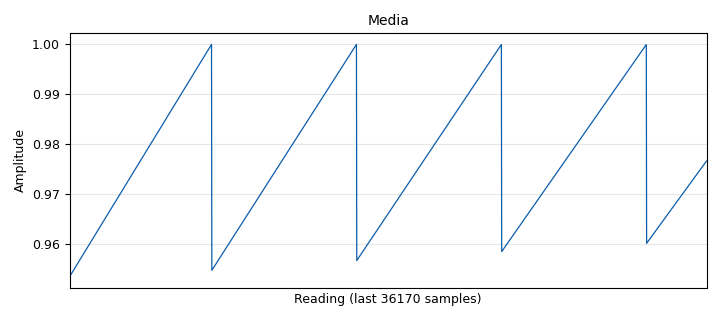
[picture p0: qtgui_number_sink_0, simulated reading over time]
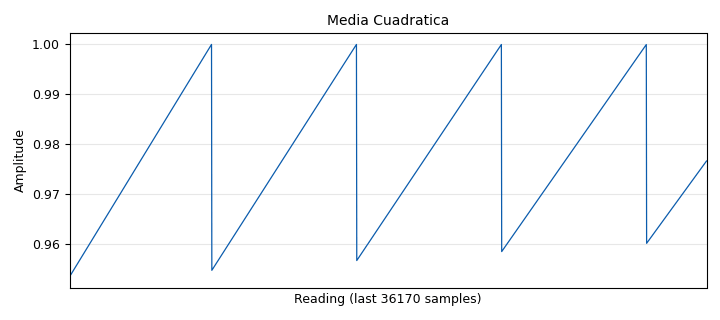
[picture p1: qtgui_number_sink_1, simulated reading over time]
options:
  parameters:
    author: 'Edwin Farid Bolaño Perez '
    generate_options: qt_gui
    id: untitled
    output_language: python
    title: Estacion de medicion estadistica
  states: {}

blocks:
- name: samp_rate
  id: variable
  parameters:
    value: '32000'
  states: {}
- name: blocks_vector_source_x_0
  id: blocks_vector_source_x
  parameters:
    repeat: 'True'
    type: float
    vector: (1, 1, 1, 1)
  states: {}
- name: epy_block_0
  id: epy_block
  parameters:
    _source_code: |-
      import numpy as np
      from gnuradio import gr


      class blk(gr.sync_block):

          def __init__(self):
              gr.sync_block.__init__(
                  self,
                  name='Promedios_de_tiempos',
                  in_sig=[np.float32],
                  out_sig=[np.float32, np.float32, np.float32, np.float32, np.float32]
              )

              self.acum_anterior = 0
              self.acum_anterior1 = 0
              self.Ntotales = 0

          def work(self, input_items, output_items):
              x = input_items[0]

              y0 = output_items[0]   # Media
              y1 = output_items[1]   # Media cuadrática
              y2 = output_items[2]   # RMS
              y3 = output_items[3]   # Potencia promedio
              y4 = output_items[4]   # Desviación estándar

              N = len(x)
              self.Ntotales += N

              # ===== MEDIA =====
              acumulado = self.acum_anterior + np.cumsum(x)
              self.acum_anterior = acumulado[-1]
              y0[:] = acumulado / self.Ntotales

              # ===== MEDIA CUADRATICA =====
              x2 = x**2
              acumulado1 = self.acum_anterior1 + np.cumsum(x2)
              self.acum_anterior1 = acumulado1[-1]
              y1[:] = acumulado1 / self.Ntotales

              # ===== RMS =====
              y2[:] = np.sqrt(y1)

              # ===== POTENCIA PROMEDIO =====
              y3[:] = y1

              # ===== DESVIACION ESTANDAR (forma correcta en streaming) =====
              y4[:] = np.sqrt(y1 - y0**2)

              return len(x)
  states: {}
- name: qtgui_number_sink_0
  id: qtgui_number_sink
  parameters:
    graph_type: qtgui.NUM_GRAPH_HORIZ
    name: Media
    type: float
  states: {}
- name: qtgui_number_sink_1
  id: qtgui_number_sink
  parameters:
    graph_type: qtgui.NUM_GRAPH_HORIZ
    name: Media Cuadratica
    type: float
  states: {}
- name: qtgui_number_sink_2
  id: qtgui_number_sink
  parameters:
    graph_type: qtgui.NUM_GRAPH_HORIZ
    name: RMS
    type: float
  states: {}
- name: qtgui_number_sink_3
  id: qtgui_number_sink
  parameters:
    graph_type: qtgui.NUM_GRAPH_HORIZ
    name: Potencia Promedio
    type: float
  states: {}
- name: qtgui_number_sink_4
  id: qtgui_number_sink
  parameters:
    graph_type: qtgui.NUM_GRAPH_HORIZ
    name: 'Desviacion Estandar '
    type: float
  states: {}

connections:
- [blocks_vector_source_x_0, '0', epy_block_0, '0']
- [epy_block_0, '0', qtgui_number_sink_0, '0']
- [epy_block_0, '1', qtgui_number_sink_1, '0']
- [epy_block_0, '2', qtgui_number_sink_2, '0']
- [epy_block_0, '3', qtgui_number_sink_3, '0']
- [epy_block_0, '4', qtgui_number_sink_4, '0']

metadata:
  file_format: 1
  grc_version: 3.10.12.0
